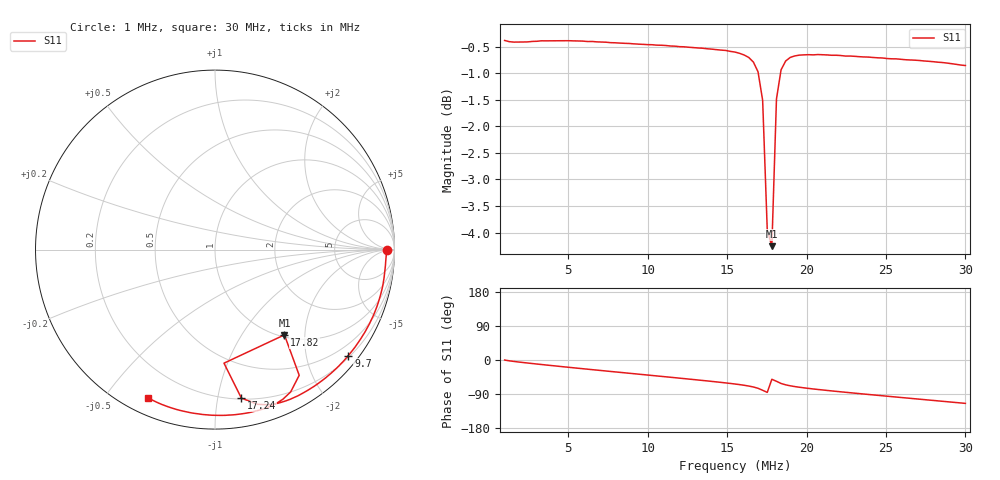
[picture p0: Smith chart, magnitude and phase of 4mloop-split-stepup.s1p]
! File created by NanoVNA MOD v3.0 by alex_m https://www.rtl-sdr.com/forum/viewtopic.php?f=4&t=4881
! Start 1000000Hz  Stop 30000000Hz  Points 101
# Hz S MA R 50
!S - Parameter data, F S11
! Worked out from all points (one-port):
!   101 points, 1 MHz to 30 MHz, reference 50 ohm
!   lowest |S11| = -4.3 dB at 17.82 MHz (marker M1), VSWR 4.16, Z = 51.9 - j79 ohm
!   |S11| at or under -10 dB: nowhere
!   S11 on the Smith chart (normalised r, x): 1 MHz: 45, -2; 9.7 MHz: 0.24, -2.85; 17.24 MHz: 0.21, -1.17; 17.82 MHz: 1.04, -1.58; 30 MHz: 0.07, -0.64
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1000000  0.9569 -0.1
1290000  0.9544 -2.1
2160000  0.9537 -6.6
3320000  0.9561 -11.9
4770000  0.9563 -18.2
6510000  0.9547 -25.4
8250000  0.9515 -32.6
9700000  0.9488 -38.5
1.202e7  0.9441 -48.0
1.405e7  0.939 -56.5
1.55e7  0.9331 -63.4
1.608e7  0.9271 -66.7
1.666e7  0.9129 -71.2
1.695e7  0.894 -74.6
1.724e7  0.8405 -79.9
1.753e7  0.6347 -85.5
1.782e7  0.6127 -50.8
1.811e7  0.8429 -56.2
1.84e7  0.8979 -62.0
1.869e7  0.9152 -65.5
1.927e7  0.9254 -70.2
1.985e7  0.9275 -73.5
2.072e7  0.9281 -77.8
2.275e7  0.9251 -86.4
2.478e7  0.9212 -94.4
2.652e7  0.9173 -101.1
2.797e7  0.9139 -106.7
3e7  0.9063 -114.5
